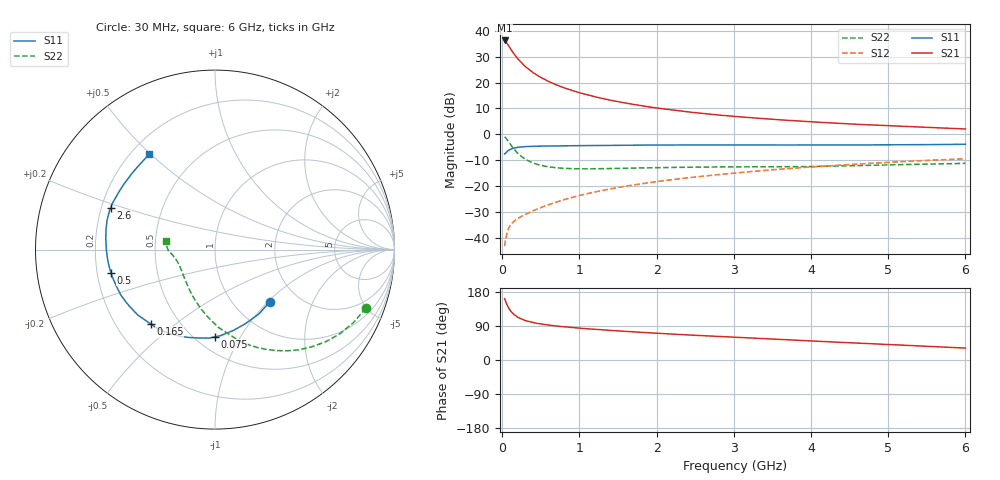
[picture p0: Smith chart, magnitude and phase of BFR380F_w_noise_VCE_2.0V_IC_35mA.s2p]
! Infineon Technologies  Discrete & RF Semiconductors
! BFR380F
! VCE =  2.0 V,  IC =  35 mA
! Common Emitter S-Parameters:  Nov 2015
# GHz  S  MA  R  50
!  f  S11  S21  S12  S22
! GHz  MAG  ANG  MAG  ANG  MAG  ANG  MAG  ANG
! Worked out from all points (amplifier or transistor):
!   206 points, 30 MHz to 6 GHz, reference 50 ohm
!   highest |S21| = 36.2 dB at 30 MHz (marker M1)
!   |S21| within 3 dB of that: start of sweep to 102.3 MHz
!   unconditionally stable (mu >= 1): 981.2 MHz to 5.082 GHz
!   at 200 MHz: K = 0.54, MSG = 30.8 dB, |S12| = -32.4 dB
!   at 1.56 GHz: K = 1.04, MAG = 15.1 dB, |S12| = -20.2 dB
!   at 6 GHz: K = 0.99, MSG = 5.7 dB, |S12| = -9.4 dB
!   lowest NFmin = 1.29 dB at 900 MHz
!   S11 on the Smith chart (normalised r, x): 30 MHz: 1.45, -1.03; 75 MHz: 0.61, -0.78; 165 MHz: 0.35, -0.41; 500 MHz: 0.26, -0.10; 2.6 GHz: 0.24, +0.18; 6 GHz: 0.27, +0.49
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0.03  0.4221 -43.5  64.71 161.8  0.007 77.3  0.9013 -21.2
0.05  0.4466 -67.9  60.19 150.7  0.0107 69.5  0.8386 -34.1
0.07  0.4809 -86.5  54.46 141.8  0.0138 63.6  0.7638 -45.2
0.075  0.4867 -90.3  53.06 140.1  0.0145 62.9  0.7452 -47.6
0.1  0.5099 -106.1  46.38 131.7  0.0173 58.5  0.6583 -58.7
0.12  0.5262 -115.7  41.72 126.4  0.0189 56.3  0.5979 -66.2
0.15  0.5448 -127.1  35.94 120.1  0.021 54.2  0.5229 -75.5
0.165  0.5477 -131.0  33.72 118.2  0.0219 53.9  0.4938 -78.7
0.2  0.564 -139.8  28.71 112.7  0.0239 53.3  0.4331 -87.6
0.26  0.5753 -149.2  23.09 107.0  0.0269 54.2  0.364 -98.5
0.3  0.5823 -154.1  20.22 103.9  0.0288 55.4  0.3312 -105.0
0.4  0.5884 -162.1  15.48 98.6  0.0337 58.2  0.2809 -117.5
0.5  0.5946 -167.6  12.5 94.9  0.0389 60.9  0.2529 -127.1
0.7  0.6008 -174.7  9.015 89.7  0.0496 64.6  0.2274 -140.7
1.04  0.6076 177.6  6.119 83.4  0.0686 67.8  0.2169 -154.1
1.4  0.6144 171.8  4.56 78.1  0.089 69.1  0.2196 -161.9
2.02  0.6236 164.2  3.203 70.5  0.1241 68.9  0.2284 -167.9
2.6  0.6263 158.2  2.524 64.0  0.1565 67.5  0.2346 -171.2
3.1  0.6254 153.6  2.167 59.1  0.1849 65.9  0.237 -172.3
4.1  0.625 143.7  1.716 49.2  0.2409 61.5  0.2412 -173.9
5.1  0.6303 134.4  1.45 40.0  0.2944 56.7  0.2601 -179.1
6  0.6457 124.6  1.272 31.5  0.3387 51.2  0.2768 170.6
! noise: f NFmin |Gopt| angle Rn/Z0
0.45  1.32  0.33  -177  0.08
0.9  1.29  0.36  -177  0.07
1.8  1.5  0.42  -166  0.08
1.9  1.58  0.43  -166  0.08
2.4  1.65  0.45  -156  0.1
3.5  2.23  0.51  -147  0.16
